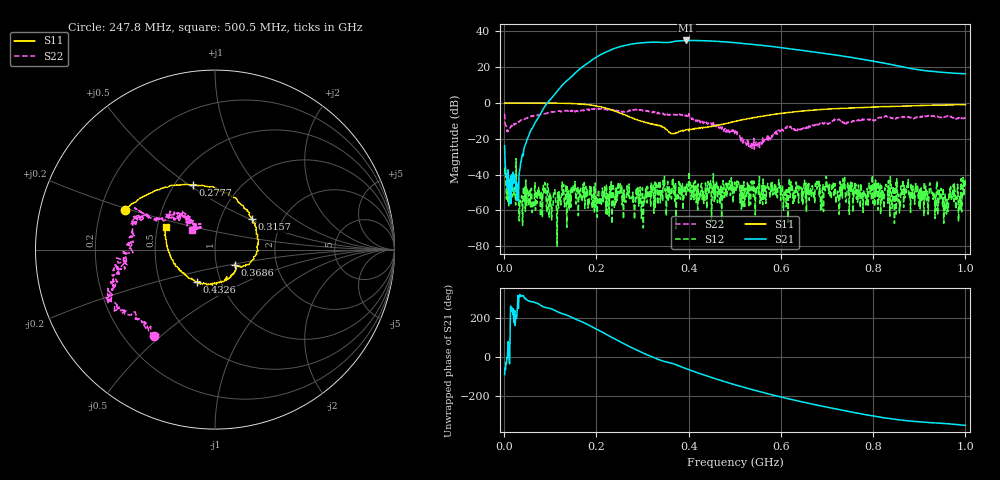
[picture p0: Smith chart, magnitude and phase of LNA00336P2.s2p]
! Created with skrf 1.9.0 (http://scikit-rf.org).
# Hz S RI R 50.0
!freq ReS11 ImS11 ReS21 ImS21 ReS12 ImS12 ReS22 ImS22
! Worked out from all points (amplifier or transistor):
!   1001 points, 1 MHz to 1 GHz, reference 50 ohm
!   highest |S21| = 35.0 dB at 394.6 MHz (marker M1)
!   |S21| within 3 dB of that: 258.3 MHz to 566.4 MHz (308 MHz wide, 74.7 % of centre) (the widest 1 of 2)
!   unconditionally stable (mu >= 1): 3.293 MHz to 57.46 MHz; 232.9 MHz to 400.1 MHz; 401 MHz to end of sweep (the widest 3 of 33)
!   at 166.8 MHz: K = 1.27, MAG = 32.9 dB, |S12| = -52.4 dB
!   at 500.5 MHz: K = 1.80, MAG = 34.2 dB, |S12| = -45.0 dB
!   at 1 GHz: K = 2.53, MAG = 24.8 dB, |S12| = -47.0 dB
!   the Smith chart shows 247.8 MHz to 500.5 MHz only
!   S11 on the Smith chart (normalised r, x): 247.8 MHz: 0.30, +0.19; 277.7 MHz: 0.62, +0.52; 315.7 MHz: 1.41, +0.52; 368.6 MHz: 1.23, -0.21; 432.6 MHz: 0.77, -0.29; 500.5 MHz: 0.55, +0.15
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1000000  0.9835 8.68e-05  0.000498 -0.0637  -0.0151 -0.000156  0.3579 0.3533
1.08892e8  0.513 -0.8518  -0.7998 -1.513  -0.00312 0.000842  0.4363 -0.3748
1.67833e8  -0.2515 -0.8959  -9.801 -0.5732  0.00184 0.000918  0.0435 -0.6259
2.11789e8  -0.6942 -0.3377  -15.27 17.77  0.000333 0.00231  -0.1893 -0.6516
2.29771e8  -0.6647 -0.031  -8.987 28.66  -0.00174 0.00138  -0.2643 -0.5924
2.47753e8  -0.5037 0.2179  3.431 36.43  -0.00517 -0.00343  -0.3389 -0.4828
2.77723e8  -0.1223 0.3596  29.88 33.57  -0.00202 -0.00136  -0.5347 -0.318
2.96704e8  0.084 0.2992  42.47 21.7  -0.00113 -0.00106  -0.5868 -0.2522
3.15685e8  0.2054 0.1705  49.58 5.94  -0.00371 0.000159  -0.574 -0.1415
3.34666e8  0.2371 -0.000783  49.08 -9.926  0.000517 0.00339  -0.5165 -0.07
3.68632e8  0.1099 -0.0857  43.16 -29.88  0.0036 0.0034  -0.4584 0.1526
3.94606e8  0.0785 -0.1582  29.16 -47.96  -0.00202 0.00173  -0.4282 0.1792
4.32568e8  -0.0998 -0.1816  -0.7818 -55.08  -0.000451 0.00149  -0.1966 0.1889
4.69531e8  -0.2449 -0.0432  -25.38 -45.53  0.00143 0.00157  -0.1378 0.1605
5.005e8  -0.2743 0.125  -38.3 -30.4  7.76e-05 -0.0056  -0.1277 0.11
5.4046e8  -0.2011 0.3328  -42.32 -8.879  0.0023 0.000659  -0.0645 0.00729
5.88412e8  0.0108 0.4896  -35.09 11.4  0.00328 -0.00373  -0.1295 -0.0859
6.25375e8  0.1874 0.5275  -24.99 19.86  0.00117 -0.00362  -0.1687 -0.1061
6.67333e8  0.3926 0.4916  -13.14 23.57  0.00306 -0.00369  -0.2232 -0.0448
7.53247e8  0.6729 0.2763  3.9 18.32  0.00274 -0.00435  -0.2881 0.0182
8.34166e8  0.7961 0.0176  8.645 8.701  -0.0031 0.00233  -0.4008 0.1002
1e9  0.7195 -0.5409  6.497 1.033  0.00322 0.00307  -0.1224 0.3376
